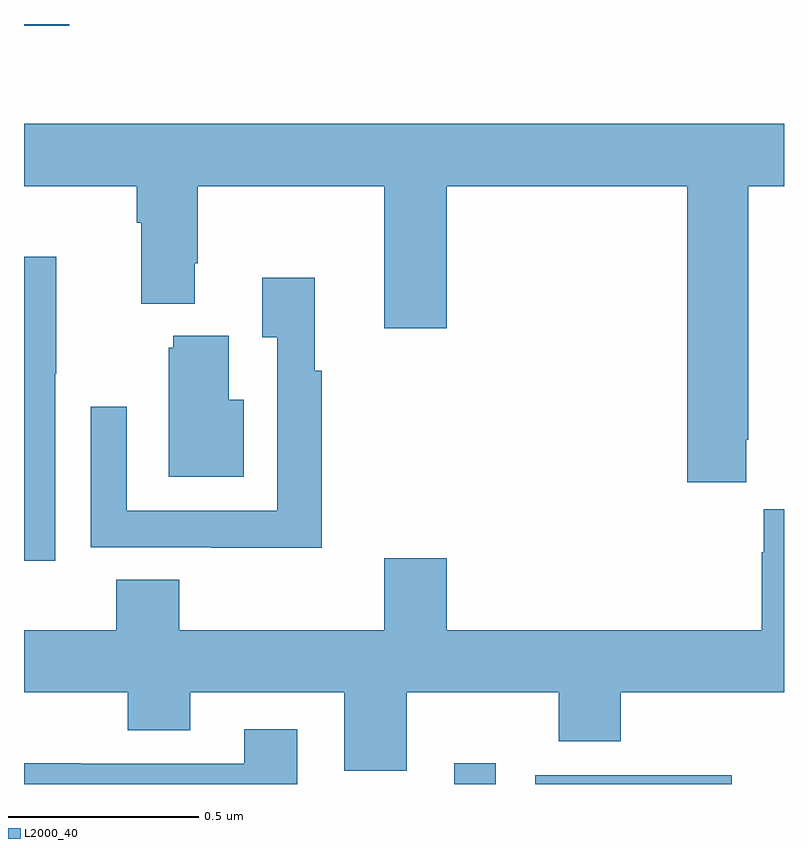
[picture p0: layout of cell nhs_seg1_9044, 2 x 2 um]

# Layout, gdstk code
import gdstk
lib = gdstk.Library(unit=1e-6, precision=1e-09)
def R(c, l, rs):  # rectangles x0, y0, x1, y1
    for r in rs: c.add(gdstk.rectangle(r[:2], r[2:], *l))
def P(c, l, *ps):  # polygons
    for p in ps: c.add(gdstk.Polygon(p, *l))
L2000_40 = (2000, 40)

nhs_seg1_9044 = lib.new_cell('nhs_seg1_9044')
R(nhs_seg1_9044, L2000_40, [(225.132,510.199,225.241,510.253), (225.345,510.199,225.862,510.222), (224,512.195,224.119,512.199)])
P(nhs_seg1_9044, L2000_40, [(225.901,511.105),(225.906,511.105),(225.906,511.772),(226,511.772),(226,511.936),(224,511.936),(224,511.772),(224.297,511.772),(224.297,511.676),(224.309,511.676),(224.309,511.463),(224.449,511.463),(224.449,511.57),(224.457,511.57),(224.457,511.772),(224.948,511.772),(224.948,511.398),(225.112,511.398),(225.112,511.772),(225.746,511.772),(225.746,510.993),(225.901,510.993)],
  [(224.082,511.279),(224.085,511.279),(224.085,511.586),(224,511.586),(224,510.786),(224.082,510.786)],
  [(224.783,511.286),(224.765,511.286),(224.765,511.531),(224.627,511.531),(224.627,511.375),(224.667,511.375),(224.667,510.918),(224.271,510.918),(224.271,511.192),(224.175,511.192),(224.175,510.822),(224.491,510.822),(224.491,510.821),(224.783,510.821)],
  [(224.578,511.21),(224.539,511.21),(224.539,511.378),(224.393,511.378),(224.393,511.347),(224.381,511.347),(224.381,511.007),(224.578,511.007)],
  [(225.007,510.44),(225.407,510.44),(225.407,510.312),(225.571,510.312),(225.571,510.44),(226,510.44),(226,510.922),(225.947,510.922),(225.947,510.809),(225.941,510.809),(225.941,510.604),(225.112,510.604),(225.112,510.793),(224.948,510.793),(224.948,510.604),(224.408,510.604),(224.408,510.737),(224.243,510.737),(224.243,510.604),(224,510.604),(224,510.44),(224.273,510.44),(224.273,510.341),(224.437,510.341),(224.437,510.44),(224.843,510.44),(224.843,510.234),(225.007,510.234)],
  [(224.719,510.343),(224.579,510.343),(224.579,510.252),(224.149,510.252),(224.149,510.254),(224,510.254),(224,510.199),(224.719,510.199)])

lib.write_gds('nhs_seg1_9044.gds')
